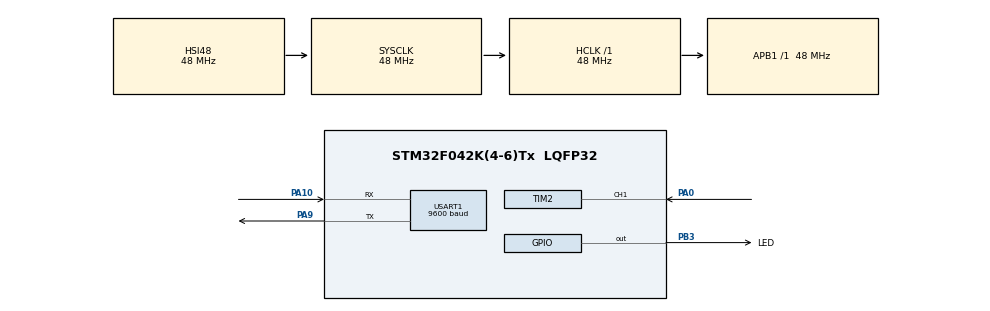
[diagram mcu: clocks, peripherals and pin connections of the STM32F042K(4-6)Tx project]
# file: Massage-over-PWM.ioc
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Mcu.Family=STM32F0
TIM2.Channel-Input_Capture1_from_TI1=TIM_CHANNEL_1
PA10.Mode=Asynchronous
USART1.BaudRate=9600
PA14.GPIO_Label=SWCLK
RCC.SYSCLKSource=RCC_SYSCLKSOURCE_HSI48
ProjectManager.StackSize=0x400
USART1.VirtualMode-Asynchronous=VM_ASYNC
PA13.Signal=SYS_SWDIO
PA9.Mode=Asynchronous
TIM2.ICPolarity_CH2=TIM_INPUTCHANNELPOLARITY_FALLING
ProjectManager.TargetToolchain=STM32CubeIDE
RCC.HCLKFreq_Value=48000000
PA9.Signal=USART1_TX
RCC.AHBFreq_Value=48000000
board=NUCLEO-F042K6
VP_TIM2_VS_ClockSourceINT.Mode=Internal
PA14.Mode=Serial_Wire
NVIC.TIM2_IRQn=true\:0\:0\:false\:false\:true\:true\:true
TIM2.Period=1000
PA13.Mode=Serial_Wire
Mcu.Name=STM32F042K(4-6)Tx
PA13.GPIO_Label=SWDIO
PA0.Signal=S_TIM2_CH1_ETR
PB3.Signal=GPIO_Output
RCC.SYSCLKFreq_VALUE=48000000
Mcu.Package=LQFP32
TIM2.Prescaler=48000-1
TIM2.Channel-Input_Capture2_from_TI1=TIM_CHANNEL_2
SH.S_TIM2_CH1_ETR.1=TIM2_CH1,Input_Capture2_from_TI1
SH.S_TIM2_CH1_ETR.0=TIM2_CH1,Input_Capture1_from_TI1
PA10.Signal=USART1_RX
PA14.Signal=SYS_SWCLK
ProjectManager.HeapSize=0x200
RCC.APB1TimFreq_Value=48000000
RCC.APB1Freq_Value=48000000
PB3.GPIO_Label=LED

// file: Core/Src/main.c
/* USER CODE BEGIN Header */
/**
  ******************************************************************************
  * @file           : main.c
  * @brief          : Main program body
  ******************************************************************************
  * @attention
  *
  * <h2><center>&copy; Copyright (c) 2021 STMicroelectronics.
  * All rights reserved.</center></h2>
  *
  * This software component is licensed by ST under BSD 3-Clause license,
  * the "License"; You may not use this file except in compliance with the
  * License. You may obtain a copy of the License at:
  *                        opensource.org/licenses/BSD-3-Clause
  *
  ******************************************************************************
  */
/* USER CODE END Header */
#include "main.h"

/* USER CODE BEGIN Includes */
//#include <stdio.h>
//#include <string.h>
//#include <stdlib.h>

/* USER CODE END Includes */

TIM_HandleTypeDef htim2;

UART_HandleTypeDef huart1;

void SystemClock_Config(void);
static void MX_GPIO_Init(void);
static void MX_TIM2_Init(void);
static void MX_USART1_UART_Init(void);

/* USER CODE BEGIN 0 */

uint32_t period = 0;
uint32_t pulseWidth = 0;
uint8_t BeforeCount = 0;
uint8_t chartimer = 0;
char CharOutput = 0;
uint8_t CharOutputRaw[9] = {0};
//uint8_t  FlagFirstRecieve = 0;

void HAL_TIM_IC_CaptureCallback(TIM_HandleTypeDef *htim){
//    int a = 0, b = 0;

    if (htim->Instance == TIM2){
          if(htim->Channel == HAL_TIM_ACTIVE_CHANNEL_1){
        	  TIM2->CNT = 0;

        	  period = HAL_TIM_ReadCapturedValue(&htim2, TIM_CHANNEL_1);
        	  pulseWidth = HAL_TIM_ReadCapturedValue(&htim2, TIM_CHANNEL_2);

              uint8_t str[128] = {0};
              uint8_t symb = 0;

              if(period > 900){
                  if (period - pulseWidth < 500){
                	  symb = '1';
                	  HAL_GPIO_WritePin(LED_GPIO_Port, LED_Pin, GPIO_PIN_SET);
                  } else if(period - pulseWidth > 500){
                	  symb = '0';
                	  HAL_GPIO_WritePin(LED_GPIO_Port, LED_Pin, GPIO_PIN_RESET);
                  } else {
                	  symb = '?';
                  }
              } else {
            	  symb = '*';
              }
//              sprintf(str, "%c : per = %d\tpuls = %d\n\r", symb, period, pulseWidth);
//              HAL_UART_Transmit(&huart1, str, strlen(str), -1);

//              if(chartimer <= 3){
//            	  chartimer++;
//              } else
//
              if(BeforeCount > 3){

            	  if(chartimer < 8){
            	  if(symb == '1'){
            		  CharOutputRaw[chartimer] = '1';

            		  chartimer++;
//                	  HAL_UART_Transmit(&huart1, "1", 1, -1);
            	  } else if(symb == '0'){
            		  CharOutputRaw[chartimer] = '0';

            		  chartimer++;
//                	  HAL_UART_Transmit(&huart1, "0", 1, -1);
            	  }

              }

              } else {
                  BeforeCount++;
              }

// 				TIM2->CNT = 0;
//              period = 0;
//              pulseWidth = 0;
          }
    }
}

uint8_t pow(uint8_t f, uint8_t s){
	uint8_t ret=0;
	for(uint8_t i=0; i<s; i++){
		ret*=f;
	}
	return ret;
}

/* USER CODE END 0 */

int main(void)
{

  /* MCU Configuration--------------------------------------------------------*/

  /* Reset of all peripherals, Initializes the Flash interface and the Systick. */
  HAL_Init();

  /* Configure the system clock */
  SystemClock_Config();

  /* Initialize all configured peripherals */
  MX_GPIO_Init();
  MX_TIM2_Init();
  MX_USART1_UART_Init();
  /* USER CODE BEGIN 2 */
  HAL_TIM_IC_Start_IT(&htim2, TIM_CHANNEL_1);
  HAL_TIM_IC_Start_IT(&htim2, TIM_CHANNEL_2);

  /* USER CODE END 2 */

  /* Infinite loop */
  /* USER CODE BEGIN WHILE */
  while (1)
  {

	  if(chartimer == 8) {
    	  char str[64] = {0};

		  for(uint8_t i=0; i<8; i++){
			  CharOutput += CharOutputRaw[i] - '0';
			  CharOutput = CharOutput << 1;
		  }
		  CharOutput = CharOutput >> 1;

    	  sprintf(str, "%c", CharOutput);
    	  HAL_UART_Transmit(&huart1, str, strlen(str), -1);
    	  chartimer = 0;
    	  CharOutput = 0;
    	  HAL_GPIO_WritePin(LED_GPIO_Port, LED_Pin, GPIO_PIN_RESET);

      }
//	  if(FlagRecieving == 0){
//		  uint8_t pData=0;
//		  if(HAL_UART_Receive(&huart1, &pData, 1, 0)== HAL_OK) {
//			  if(pData = '/r'){
//				  HAL_UART_Transmit(&huart1, "\r\n", 2, -1);
//			  }
//		  }
//	  }
    /* USER CODE END WHILE */

  }
}

void SystemClock_Config(void)
{
  RCC_OscInitTypeDef RCC_OscInitStruct = {0};
  RCC_ClkInitTypeDef RCC_ClkInitStruct = {0};
  RCC_PeriphCLKInitTypeDef PeriphClkInit = {0};

  /** Initializes the RCC Oscillators according to the specified parameters
  * in the RCC_OscInitTypeDef structure.
  */
  RCC_OscInitStruct.OscillatorType = RCC_OSCILLATORTYPE_HSI48;
  RCC_OscInitStruct.HSI48State = RCC_HSI48_ON;
  RCC_OscInitStruct.PLL.PLLState = RCC_PLL_NONE;
  if (HAL_RCC_OscConfig(&RCC_OscInitStruct) != HAL_OK)
  {
    Error_Handler();
  }
  /** Initializes the CPU, AHB and APB buses clocks
  */
  RCC_ClkInitStruct.ClockType = RCC_CLOCKTYPE_HCLK|RCC_CLOCKTYPE_SYSCLK
                              |RCC_CLOCKTYPE_PCLK1;
  RCC_ClkInitStruct.SYSCLKSource = RCC_SYSCLKSOURCE_HSI48;
  RCC_ClkInitStruct.AHBCLKDivider = RCC_SYSCLK_DIV1;
  RCC_ClkInitStruct.APB1CLKDivider = RCC_HCLK_DIV1;

  if (HAL_RCC_ClockConfig(&RCC_ClkInitStruct, FLASH_LATENCY_1) != HAL_OK)
  {
    Error_Handler();
  }
  PeriphClkInit.PeriphClockSelection = RCC_PERIPHCLK_USART1;
  PeriphClkInit.Usart1ClockSelection = RCC_USART1CLKSOURCE_PCLK1;
  if (HAL_RCCEx_PeriphCLKConfig(&PeriphClkInit) != HAL_OK)
  {
    Error_Handler();
  }
}

static void MX_TIM2_Init(void)
{

  TIM_ClockConfigTypeDef sClockSourceConfig = {0};
  TIM_MasterConfigTypeDef sMasterConfig = {0};
  TIM_IC_InitTypeDef sConfigIC = {0};

  htim2.Instance = TIM2;
  htim2.Init.Prescaler = 48000-1;
  htim2.Init.CounterMode = TIM_COUNTERMODE_UP;
  htim2.Init.Period = 1000;
  htim2.Init.ClockDivision = TIM_CLOCKDIVISION_DIV1;
  htim2.Init.AutoReloadPreload = TIM_AUTORELOAD_PRELOAD_DISABLE;
  if (HAL_TIM_Base_Init(&htim2) != HAL_OK)
  {
    Error_Handler();
  }
  sClockSourceConfig.ClockSource = TIM_CLOCKSOURCE_INTERNAL;
  if (HAL_TIM_ConfigClockSource(&htim2, &sClockSourceConfig) != HAL_OK)
  {
    Error_Handler();
  }
  if (HAL_TIM_IC_Init(&htim2) != HAL_OK)
  {
    Error_Handler();
  }
  sMasterConfig.MasterOutputTrigger = TIM_TRGO_RESET;
  sMasterConfig.MasterSlaveMode = TIM_MASTERSLAVEMODE_DISABLE;
  if (HAL_TIMEx_MasterConfigSynchronization(&htim2, &sMasterConfig) != HAL_OK)
  {
    Error_Handler();
  }
  sConfigIC.ICPolarity = TIM_INPUTCHANNELPOLARITY_RISING;
  sConfigIC.ICSelection = TIM_ICSELECTION_DIRECTTI;
  sConfigIC.ICPrescaler = TIM_ICPSC_DIV1;
  sConfigIC.ICFilter = 0;
  if (HAL_TIM_IC_ConfigChannel(&htim2, &sConfigIC, TIM_CHANNEL_1) != HAL_OK)
  {
    Error_Handler();
  }
  sConfigIC.ICPolarity = TIM_INPUTCHANNELPOLARITY_FALLING;
  sConfigIC.ICSelection = TIM_ICSELECTION_INDIRECTTI;
  if (HAL_TIM_IC_ConfigChannel(&htim2, &sConfigIC, TIM_CHANNEL_2) != HAL_OK)
  {
    Error_Handler();
  }

}

static void MX_USART1_UART_Init(void)
{

  huart1.Instance = USART1;
  huart1.Init.BaudRate = 9600;
  huart1.Init.WordLength = UART_WORDLENGTH_8B;
  huart1.Init.StopBits = UART_STOPBITS_1;
  huart1.Init.Parity = UART_PARITY_NONE;
  huart1.Init.Mode = UART_MODE_TX_RX;
  huart1.Init.HwFlowCtl = UART_HWCONTROL_NONE;
  huart1.Init.OverSampling = UART_OVERSAMPLING_16;
  huart1.Init.OneBitSampling = UART_ONE_BIT_SAMPLE_DISABLE;
  huart1.AdvancedInit.AdvFeatureInit = UART_ADVFEATURE_NO_INIT;
  if (HAL_UART_Init(&huart1) != HAL_OK)
  {
    Error_Handler();
  }

}

static void MX_GPIO_Init(void)
{
  GPIO_InitTypeDef GPIO_InitStruct = {0};

  /* GPIO Ports Clock Enable */
  __HAL_RCC_GPIOA_CLK_ENABLE();
  __HAL_RCC_GPIOB_CLK_ENABLE();

  /*Configure GPIO pin Output Level */
  HAL_GPIO_WritePin(LED_GPIO_Port, LED_Pin, GPIO_PIN_RESET);

  /*Configure GPIO pin : LED_Pin */
  GPIO_InitStruct.Pin = LED_Pin;
  GPIO_InitStruct.Mode = GPIO_MODE_OUTPUT_PP;
  GPIO_InitStruct.Pull = GPIO_NOPULL;
  GPIO_InitStruct.Speed = GPIO_SPEED_FREQ_LOW;
  HAL_GPIO_Init(LED_GPIO_Port, &GPIO_InitStruct);

}

void Error_Handler(void)
{
  __disable_irq();
  while (1)
  {
  }
}

/************************ (C) COPYRIGHT STMicroelectronics *****END OF FILE****/
